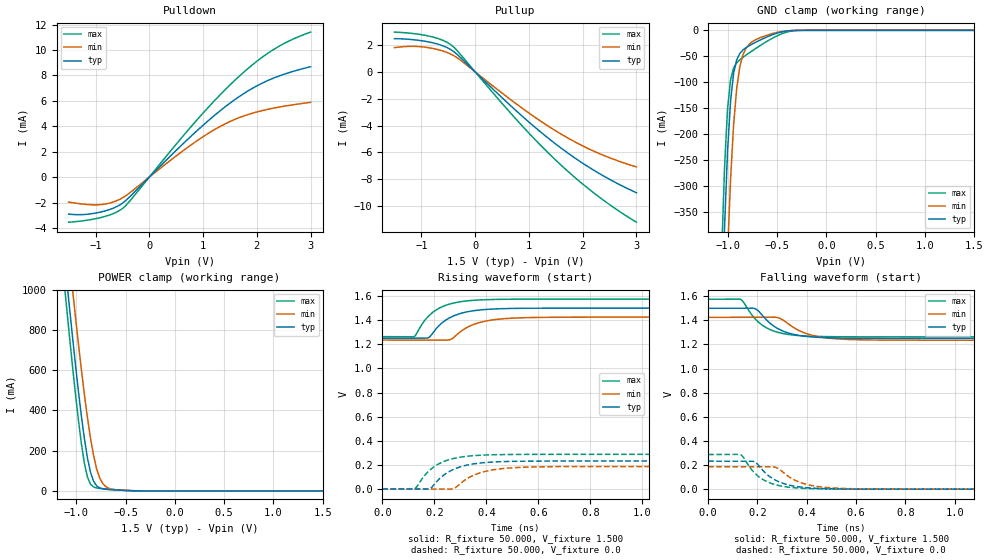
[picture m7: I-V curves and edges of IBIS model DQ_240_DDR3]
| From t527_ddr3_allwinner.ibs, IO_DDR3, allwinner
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|   Model DQ_240_DDR3
[Model] DQ_240_DDR3
Model_type I/O
Polarity   Non-Inverting
Enable   Active-Low
Vinl =  0.750V
Vinh =  0.750V
C_comp   1.602pF   1.567pF   1.645pF
C_comp_pullup   0.530pF   0.513pF   0.551pF
C_comp_pulldown   0.807pF   0.789pF   0.829pF
[Model Spec]
Vinh   0.750V   0.712V   0.787V
Vinl   0.750V   0.712V   0.787V
[Temperature Range]   25.000   0.125k   -40.000
[Voltage Range]   1.500V   1.425V   1.575V
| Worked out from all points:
|   slope of the pulldown table from 0 to 0.225 V, typ, clamps not added: 236 ohm
|   slope of the pullup table from 0 to 0.225 V, typ, clamps not added: 257 ohm
|   GND clamp passes 1 mA (typ) near -0.39 V on its own axis
|   POWER clamp passes 1 mA (typ) near -0.43 V on its own axis
|   rising waveform, R_fixture 50.000, V_fixture 1.500: 20-80 % time 96.2ps typ, 103ps min, 90.4ps max; typ from 1.25 V to 1.5 V
|   rising waveform, R_fixture 50.000, V_fixture 0.0: 20-80 % time 99.9ps typ, 106ps min, 94.3ps max; typ from 0 V to 0.232 V
|   falling waveform, R_fixture 50.000, V_fixture 1.500: 20-80 % time 101ps typ, 113ps min, 93.5ps max; typ from 1.5 V to 1.25 V
|   falling waveform, R_fixture 50.000, V_fixture 0.0: 20-80 % time 96.7ps typ, 105ps min, 90.2ps max; typ from 0.232 V to 0 V
[Pulldown]
|Voltage   I(typ)   I(min)   I(max)
-1.5V     -2.91mA    -1.962mA   -3.545mA
-1.224V   -2.945mA   -2.126mA   -3.431mA
-902mV    -2.745mA   -2.161mA   -3.181mA
-672mV    -2.448mA   -1.961mA   -2.874mA
-488mV    -2.017mA   -1.606mA   -2.431mA
846mV     3.49mA     2.739mA    4.303mA
1.214V    4.858mA    3.739mA    6.017mA
1.582V    6.067mA    4.524mA    7.578mA
1.95V     7.059mA    5.066mA    8.941mA
2.272V    7.719mA    5.392mA    9.929mA
2.594V    8.213mA    5.636mA    10.7mA
3V        8.687mA    5.881mA    11.41mA
[Pullup]
|Voltage   I(typ)   I(min)   I(max)
-1.5V     2.468mA    1.803mA    2.957mA
-1.232V   2.42mA     1.893mA    2.882mA
-956mV    2.29mA     1.845mA    2.735mA
-680mV    2.045mA    1.641mA    2.464mA
-450mV    1.648mA    1.313mA    2.013mA
-312mV    1.214mA    985uA      1.479mA
792mV     -3.002mA   -2.464mA   -3.661mA
1.482V    -5.324mA   -4.353mA   -6.509mA
1.85V     -6.399mA   -5.203mA   -7.846mA
2.218V    -7.353mA   -5.926mA   -9.05mA
2.586V    -8.188mA   -6.526mA   -10.13mA
3V        -8.999mA   -7.075mA   -11.19mA
[GND_clamp]
|Voltage   I(typ)   I(min)   I(max)
-1.5V     -3.542A    -3.63A     -3.522A
-1.066V   -574.9mA   -807mA     -446.3mA
-1.035V   -383.4mA   -606.8mA   -267.9mA
-1.004V   -234mA     -430.3mA   -151.7mA
-973mV    -135.8mA   -286.6mA   -95.12mA
-942mV    -82.41mA   -181mA     -72.43mA
-911mV    -56.9mA    -111.8mA   -62.62mA
-880mV    -44.73mA   -70.74mA   -56.82mA
-849mV    -38.08mA   -47.74mA   -52.2mA
-756mV    -26.67mA   -22.36mA   -39.79mA
-322mV    -204.2uA   -258.8uA   -609.2uA
1.5V      0A         0A         0A
[POWER_clamp]
|Voltage   I(typ)   I(min)   I(max)
-1.5V     3.137A     3.334A     3.027A
-1.135V   1.239A     1.47A      1.1A
-1.104V   1.085A     1.319A     943.4mA
-1.073V   933.1mA    1.169A     789.3mA
-1.042V   784.9mA    1.022A     639.4mA
-1.011V   641.4mA    879mA      495.4mA
-918mV    261.7mA    482mA      139mA
-887mV    165.4mA    366.5mA    69.82mA
-825mV    48.42mA    178mA      19.77mA
-732mV    10.66mA    37.14mA    10.79mA
-608mV    4.953mA    6.242mA    6.01mA
1.5V      0A         0A         0A
[Ramp]
| variable   typ   min   max
dV/dt_r   0.139/99.945p   0.112/0.106n   0.172/94.278p
dV/dt_f   0.150/0.101n   0.114/0.113n   0.187/93.557p
R_load = 50.000
[Rising Waveform]
R_fixture= 50.000
V_fixture= 1.500
V_fixture_min= 1.425
V_fixture_max= 1.575
|time   V(typ)   V(min)   V(max)
0s        1.251V     1.235V     1.263V
122ps     1.251V     1.235V     1.264V
176ps     1.253V     1.235V     1.43V
218ps     1.355V     1.235V     1.499V
251ps     1.41V      1.235V     1.529V
295ps     1.452V     1.295V     1.551V
354ps     1.479V     1.367V     1.565V
437ps     1.494V     1.406V     1.572V
578ps     1.499V     1.422V     1.575V
2ns       1.5V       1.425V     1.575V
[Rising Waveform]
R_fixture= 50.000
V_fixture= 0.0
V_fixture_min= 0.0
V_fixture_max= 0.0
|time   V(typ)   V(min)   V(max)
0s        9.956uV    159uV      1.128uV
123ps     50.81uV    170.9uV    482.2uV
180ps     285.6uV    177.5uV    151.7mV
231ps     106.6mV    168.7uV    223.2mV
272ps     161mV      2.124mV    252.2mV
325ps     197.9mV    84.68mV    271.3mV
363ps     211.9mV    124.5mV    278.2mV
458ps     226.7mV    168.3mV    285.2mV
602ps     231.4mV    183.6mV    287.2mV
2ns       232.2mV    186.4mV    287.5mV
[Falling Waveform]
R_fixture= 50.000
V_fixture= 1.500
V_fixture_min= 1.425
V_fixture_max= 1.575
|time   V(typ)   V(min)   V(max)
0s        1.5V       1.425V     1.575V
130ps     1.5V       1.425V     1.575V
143ps     1.5V       1.425V     1.551V
187ps     1.5V       1.425V     1.42V
230ps     1.418V     1.425V     1.346V
284ps     1.33V      1.422V     1.3V
371ps     1.274V     1.313V     1.273V
464ps     1.257V     1.259V     1.266V
613ps     1.251V     1.239V     1.263V
2ns       1.251V     1.235V     1.263V
[Falling Waveform]
R_fixture= 50.000
V_fixture= 0.0
V_fixture_min= 0.0
V_fixture_max= 0.0
|time   V(typ)   V(min)   V(max)
0s        232.2mV    186.4mV    287.5mV
130ps     232.1mV    186.3mV    286.6mV
143ps     232.2mV    186.4mV    263.9mV
184ps     230.3mV    186.4mV    143.5mV
223ps     152.9mV    186.6mV    78.86mV
274ps     73.32mV    181mV      36.26mV
362ps     21.01mV    64.76mV    9.528mV
450ps     6.097mV    20.32mV    2.506mV
595ps     793.1uV    3.16mV     277.7uV
2ns       9.967uV    159uV      1.131uV
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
